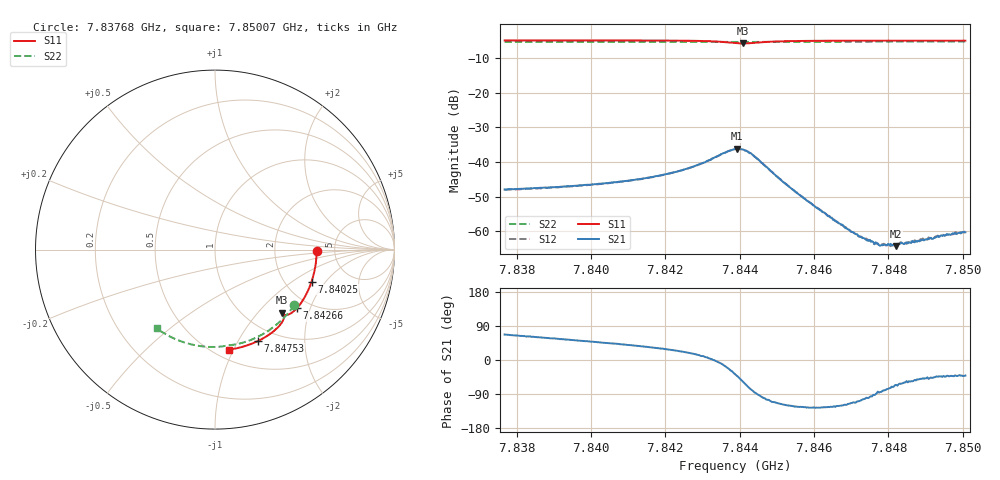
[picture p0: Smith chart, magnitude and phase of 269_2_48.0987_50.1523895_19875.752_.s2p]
#  HZ  S  RI  R  50.00
! Rohde & Schwarz Vector Network Analyzer
! Rohde-Schwarz,ZNB20-2Port,1311601062101988,3.16
! Created: UTC 12/23/2023, 4:01:34 AM
! freq[Hz]  re:S11  im:S11  re:S21  im:S21  re:S12  im:S12  re:S22  im:S22
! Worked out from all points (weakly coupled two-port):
!   401 points, 7.83768 GHz to 7.85007 GHz, reference 50 ohm
!   highest |S21| = -36.16 dB at 7.84394 GHz (marker M1); lowest = -64.2 dB at 7.84821 GHz (marker M2)
!   lowest |S11| = -5.8 dB at 7.84409 GHz (marker M3), VSWR 3.11, Z = 71.4 - j68.2 ohm
!   |S11| at or under -10 dB: nowhere
!   |S22| runs from -5.4 to -5.3 dB; largest |S21 - S12| = 0.0004
!   S11 on the Smith chart (normalised r, x): 7.83768 GHz: 3.61, -0.10; 7.84025 GHz: 2.77, -1.45; 7.84266 GHz: 1.71, -1.63; 7.84753 GHz: 0.82, -1.22; 7.85007 GHz: 0.59, -0.96
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7.837675e9  0.5664 -0.00899  0.00155 0.00371  0.00158 0.00369  0.4421 -0.3099
7.839751e9  0.5477 -0.146  0.00295 0.00357  0.00291 0.00354  0.344 -0.4169
7.840247e9  0.5381 -0.178  0.00335 0.00354  0.00333 0.00351  0.3166 -0.4384
7.841828e9  0.493 -0.2767  0.00546 0.00326  0.00542 0.00326  0.2209 -0.494
7.842665e9  0.4569 -0.3262  0.00789 0.00261  0.00785 0.0026  0.1661 -0.5152
7.843408e9  0.4092 -0.3617  0.0121 -0.000982  0.0121 -0.00108  0.1153 -0.5281
7.843873e9  0.3759 -0.3594  0.0123 -0.00932  0.0123 -0.00921  0.0843 -0.5324
7.843935e9  0.374 -0.3571  0.0115 -0.0105  0.0112 -0.0104  0.0802 -0.5329
7.84409e9  0.374 -0.3518  0.00807 -0.0129  0.00802 -0.0128  0.0706 -0.5342
7.844369e9  0.383 -0.3556  0.00153 -0.0123  0.00173 -0.0124  0.0527 -0.5374
7.845206e9  0.3687 -0.4119  -0.00237 -0.00439  -0.00237 -0.00442  -0.00556 -0.5427
7.84595e9  0.3311 -0.451  -0.00144 -0.002  -0.00144 -0.00201  -0.0582 -0.5405
7.847034e9  0.2692 -0.4937  -0.000379 -0.000907  -0.00039 -0.0009  -0.1333 -0.5278
7.847251e9  0.2563 -0.5008  -0.000245 -0.0008  -0.000219 -0.000811  -0.1482 -0.524
7.84753e9  0.2394 -0.5092  -7.17e-05 -0.000708  -6.57e-05 -0.000714  -0.1669 -0.5184
7.847654e9  0.2318 -0.5128  -7.23e-06 -0.000698  -1.17e-05 -0.000682  -0.1751 -0.5159
7.847809e9  0.2222 -0.517  6.79e-05 -0.000631  9.45e-05 -0.000645  -0.1856 -0.5122
7.848026e9  0.2087 -0.5229  0.00017 -0.000605  0.0002 -0.000618  -0.1997 -0.507
7.848212e9  0.1971 -0.5274  0.000254 -0.000561  0.000261 -0.000602  -0.212 -0.5023
7.848429e9  0.1834 -0.5322  0.000337 -0.000566  0.000327 -0.000576  -0.2258 -0.4962
7.849266e9  0.1295 -0.5475  0.000579 -0.000574  0.000602 -0.00059  -0.2781 -0.4695
7.850071e9  0.077 -0.5573  0.000731 -0.000637  0.000755 -0.00065  -0.3255 -0.4385
